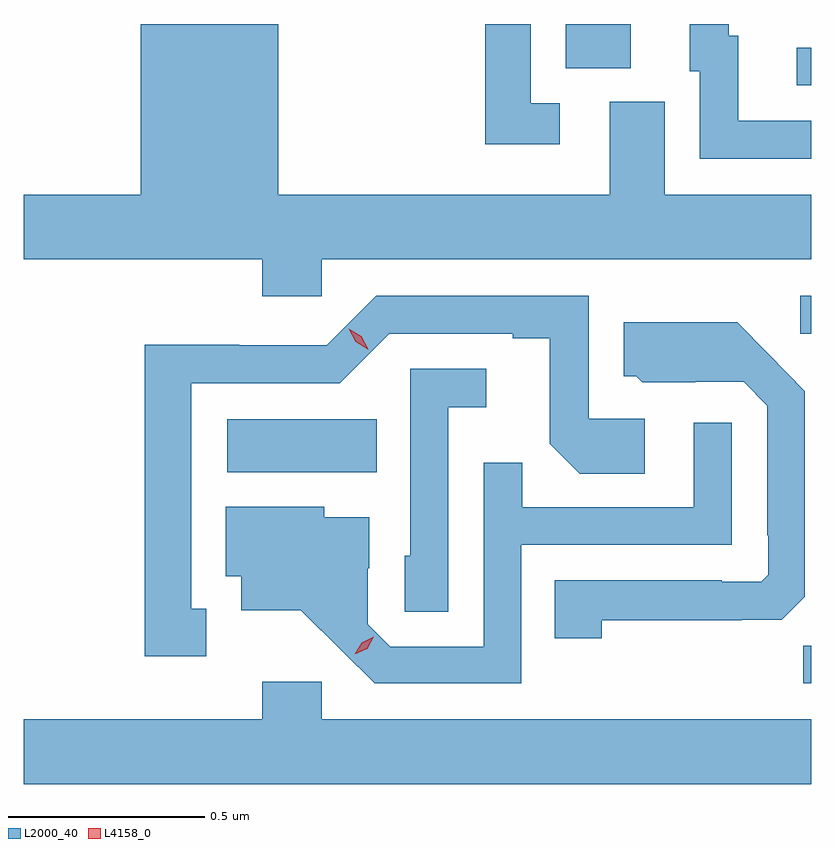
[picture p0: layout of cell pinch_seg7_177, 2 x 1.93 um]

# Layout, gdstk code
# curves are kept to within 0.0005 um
import gdstk
lib = gdstk.Library(unit=1e-6, precision=1e-09)
def R(c, l, rs):  # rectangles x0, y0, x1, y1
    for r in rs: c.add(gdstk.rectangle(r[:2], r[2:], *l))
def P(c, l, *ps):  # polygons
    for p in ps: c.add(gdstk.Polygon(p, *l))
L2000_40 = (2000, 40)
L4158_0 = (4158, 0)

pinch_seg7_177 = lib.new_cell('pinch_seg7_177')
R(pinch_seg7_177, L2000_40, [(1047.706,1023.516,1047.727,1023.611), (1046.244,1024.052,1046.624,1024.186), (1047.699,1024.404,1047.727,1024.5), (1047.69,1025.034,1047.727,1025.13), (1047.104,1025.077,1047.268,1025.19)])
P(pinch_seg7_177, L2000_40, [(1046.484,1024.592),(1047.727,1024.592),(1047.727,1024.756),(1047.355,1024.756),(1047.355,1024.992),(1047.215,1024.992),(1047.215,1024.756),(1046.374,1024.756),(1046.374,1025.19),(1046.024,1025.19),(1046.024,1024.756),(1045.727,1024.756),(1045.727,1024.592),(1046.333,1024.592),(1046.333,1024.499),(1046.484,1024.499)],
  [(1047.088,1024.989),(1047.015,1024.989),(1047.015,1025.19),(1046.899,1025.19),(1046.899,1024.884),(1047.088,1024.884)],
  [(1047.727,1024.944),(1047.541,1024.944),(1047.541,1025.16),(1047.517,1025.16),(1047.517,1025.19),(1047.356,1025.19),(1047.356,1025.189),(1047.419,1025.189),(1047.419,1025.07),(1047.444,1025.07),(1047.444,1024.848),(1047.727,1024.848)],
  [(1046.191,1023.705),(1046.152,1023.705),(1046.152,1024.278),(1046.529,1024.278),(1046.655,1024.404),(1046.969,1024.404),(1046.969,1024.392),(1047.063,1024.392),(1047.063,1024.124),(1047.139,1024.048),(1047.304,1024.048),(1047.304,1024.188),(1047.162,1024.188),(1047.162,1024.5),(1046.622,1024.5),(1046.496,1024.374),(1046.274,1024.374),(1046.274,1024.376),(1046.034,1024.376),(1046.034,1023.585),(1046.191,1023.585)],
  [(1047.195,1023.676),(1047.551,1023.676),(1047.551,1023.677),(1047.652,1023.677),(1047.711,1023.736),(1047.711,1024.258),(1047.539,1024.432),(1047.251,1024.432),(1047.251,1024.296),(1047.282,1024.296),(1047.298,1024.28),(1047.432,1024.28),(1047.432,1024.281),(1047.555,1024.281),(1047.615,1024.221),(1047.615,1023.892),(1047.618,1023.892),(1047.618,1023.792),(1047.6,1023.774),(1047.5,1023.774),(1047.5,1023.777),(1047.076,1023.777),(1047.076,1023.63),(1047.195,1023.63)],
  [(1046.805,1024.217),(1046.902,1024.217),(1046.902,1024.314),(1046.709,1024.314),(1046.709,1023.84),(1046.694,1023.84),(1046.694,1023.697),(1046.805,1023.697)],
  [(1046.991,1023.867),(1047.525,1023.867),(1047.525,1024.177),(1047.429,1024.177),(1047.429,1023.963),(1046.993,1023.963),(1046.993,1024.076),(1046.895,1024.076),(1046.895,1023.609),(1046.658,1023.609),(1046.601,1023.666),(1046.601,1023.808),(1046.605,1023.808),(1046.605,1023.937),(1046.49,1023.937),(1046.49,1023.964),(1046.24,1023.964),(1046.24,1023.788),(1046.279,1023.788),(1046.279,1023.701),(1046.431,1023.701),(1046.618,1023.516),(1046.991,1023.516)],
  [(1047.727,1023.424),(1046.484,1023.424),(1046.484,1023.52),(1046.333,1023.52),(1046.333,1023.424),(1045.727,1023.424),(1045.727,1023.26),(1047.727,1023.26)])
P(pinch_seg7_177, L4158_0, [(1046.568,1023.59),(1046.568,1023.59),(1046.585,1023.619),(1046.616,1023.634),(1046.616,1023.634),(1046.616,1023.634),(1046.599,1023.604),(1046.568,1023.59)],
  [(1046.601,1024.364),(1046.57,1024.383),(1046.552,1024.416),(1046.552,1024.416),(1046.553,1024.416),(1046.584,1024.397),(1046.602,1024.364),(1046.602,1024.364)])

lib.write_gds('pinch_seg7_177.gds')
